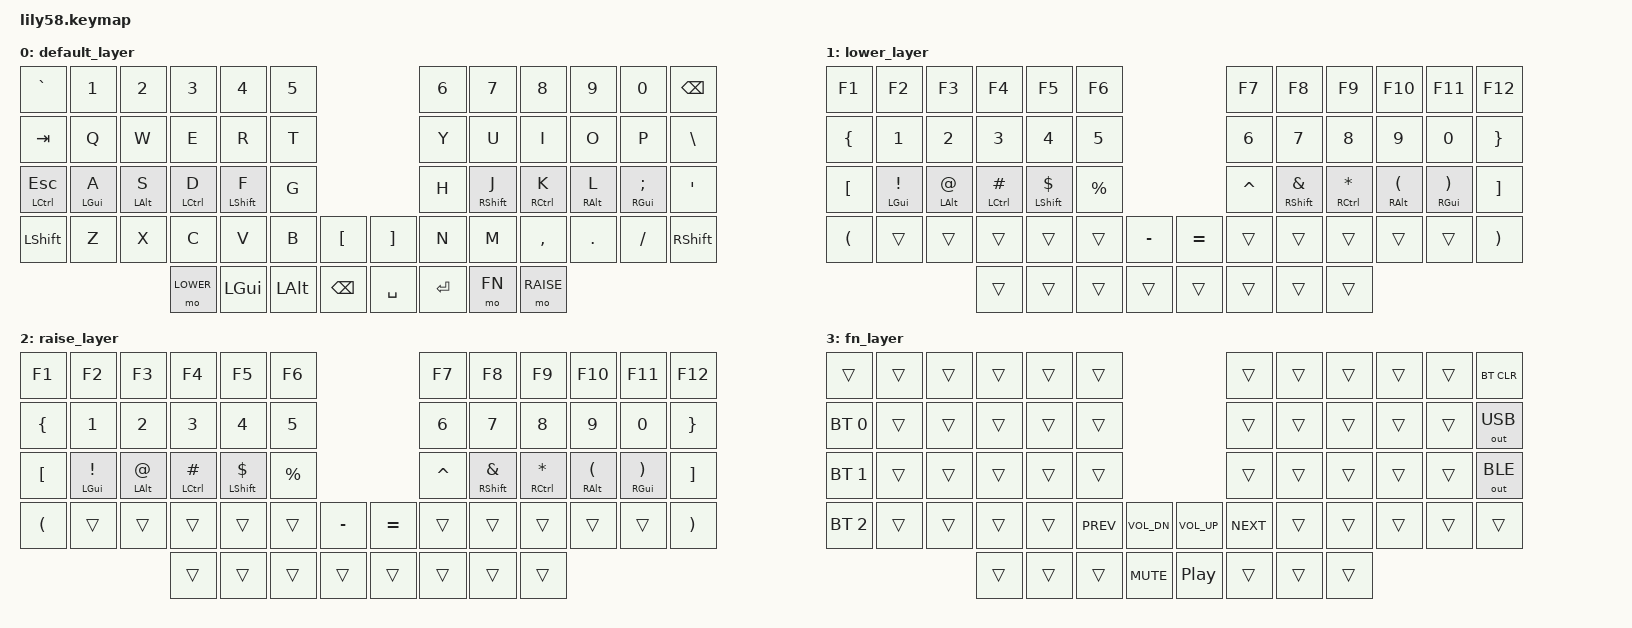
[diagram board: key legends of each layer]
/*
 * Copyright (c) 2020 The ZMK Contributors
 *
 * SPDX-License-Identifier: MIT
 */

#include <behaviors.dtsi>
#include <dt-bindings/zmk/keys.h>
#include <dt-bindings/zmk/bt.h>
#include <dt-bindings/zmk/outputs.h>
#include <dt-bindings/zmk/ext_power.h>

#define DEFAULT 0
#define LOWER 1
#define RAISE 2
#define FN 3

/ {
	behaviors {
		hm: homerow_mods {
			compatible = "zmk,behavior-hold-tap";
			label = "HOMEROW_MODS";
			#binding-cells = <2>;
			tapping-term-ms = <150>;
			quick_tap_ms = <0>;
			flavor = "tap-preferred";
			bindings = <&kp>, <&kp>;
		};
  };

	keymap {
		compatible = "zmk,keymap";

		default_layer {
			bindings = <
&kp GRAVE     &kp N1     &kp N2     &kp N3      &kp N4      &kp N5                     &kp N6    &kp N7      &kp N8      &kp N9     &kp N0        &kp BSPC
&kp TAB       &kp Q      &kp W      &kp E       &kp R       &kp T                      &kp Y     &kp U       &kp I       &kp O      &kp P         &kp BSLH
&mt LCTRL ESC &hm LGUI A &hm LALT S &hm LCTRL D &hm LSHFT F &kp G                      &kp H     &hm RSHFT J &hm RCTRL K &hm RALT L &hm RGUI SEMI &kp SINGLE_QUOTE
&kp LSHFT     &kp Z      &kp X      &kp C       &kp V       &kp B    &kp LBKT &kp RBKT &kp N     &kp M       &kp COMMA   &kp DOT    &kp FSLH      &kp RSHFT
                                    &mo LOWER   &kp LGUI    &kp LALT &kp BSPC &kp SPC  &kp ENTER &mo FN      &mo RAISE
			>;
		};

		lower_layer {
			bindings = <
&kp F1   &kp F2        &kp F3      &kp F4         &kp F5         &kp F6                        &kp F7    &kp F8         &kp F9         &kp F10       &kp F11       &kp F12
&kp LBRC &kp N1        &kp N2      &kp N3         &kp N4         &kp N5                        &kp N6    &kp N7         &kp N8         &kp N9        &kp N0        &kp RBRC 
&kp LBKT &hm LGUI EXCL &hm LALT AT &hm LCTRL HASH &hm LSHFT DLLR &kp PRCNT                     &kp CARET &hm RSHFT AMPS &hm RCTRL STAR &hm RALT LPAR &hm RGUI RPAR &kp RBKT 
&kp LPAR &trans        &trans      &trans         &trans         &trans    &kp MINUS &kp EQUAL &trans    &trans         &trans         &trans        &trans        &kp RPAR 
                                   &trans         &trans         &trans    &trans    &trans    &trans    &trans         &trans
			>;
		};

		raise_layer {
			bindings = <
&kp F1   &kp F2        &kp F3      &kp F4         &kp F5         &kp F6                        &kp F7    &kp F8         &kp F9         &kp F10       &kp F11       &kp F12
&kp LBRC &kp N1        &kp N2      &kp N3         &kp N4         &kp N5                        &kp N6    &kp N7         &kp N8         &kp N9        &kp N0        &kp RBRC 
&kp LBKT &hm LGUI EXCL &hm LALT AT &hm LCTRL HASH &hm LSHFT DLLR &kp PRCNT                     &kp CARET &hm RSHFT AMPS &hm RCTRL STAR &hm RALT LPAR &hm RGUI RPAR &kp RBKT 
&kp LPAR &trans        &trans      &trans         &trans         &trans    &kp MINUS &kp EQUAL &trans    &trans         &trans         &trans        &trans        &kp RPAR 
                                   &trans         &trans         &trans    &trans    &trans    &trans    &trans         &trans
			>;
		};

		fn_layer {
			bindings = <
&trans       &trans &trans &trans &trans &trans                                    &trans    &trans &trans &trans &trans &bt BT_CLR 
&bt BT_SEL 0 &trans &trans &trans &trans &trans                                    &trans    &trans &trans &trans &trans &out OUT_USB 
&bt BT_SEL 1 &trans &trans &trans &trans &trans                                    &trans    &trans &trans &trans &trans &out OUT_BLE
&bt BT_SEL 2 &trans &trans &trans &trans &kp C_PREV &kp C_VOL_DN &kp C_VOL_UP     &kp C_NEXT &trans &trans &trans &trans &trans 
                           &trans &trans &trans     &kp C_MUTE   &kp C_PLAY_PAUSE &trans     &trans &trans
			>;
		};
	};
};
